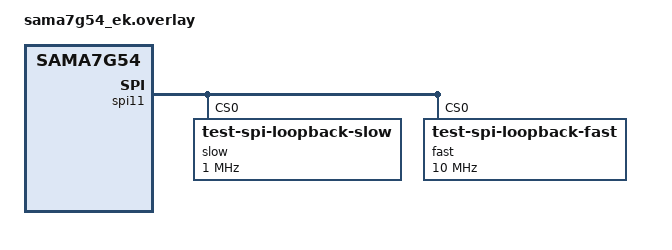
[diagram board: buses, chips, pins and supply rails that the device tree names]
/*
 * Copyright (C) 2025 Microchip Technology Inc. and its subsidiaries
 *
 * SPDX-License-Identifier: Apache-2.0
 *
 */

&dma0 {
	status = "okay";
};

&spi11 {
	loopback;

	slow@0 {
		compatible = "test-spi-loopback-slow";
		reg = <0>;
		spi-max-frequency = <1000000>;
	};

	fast@0 {
		compatible = "test-spi-loopback-fast";
		reg = <0>;
		spi-max-frequency = <10000000>;
	};
};
